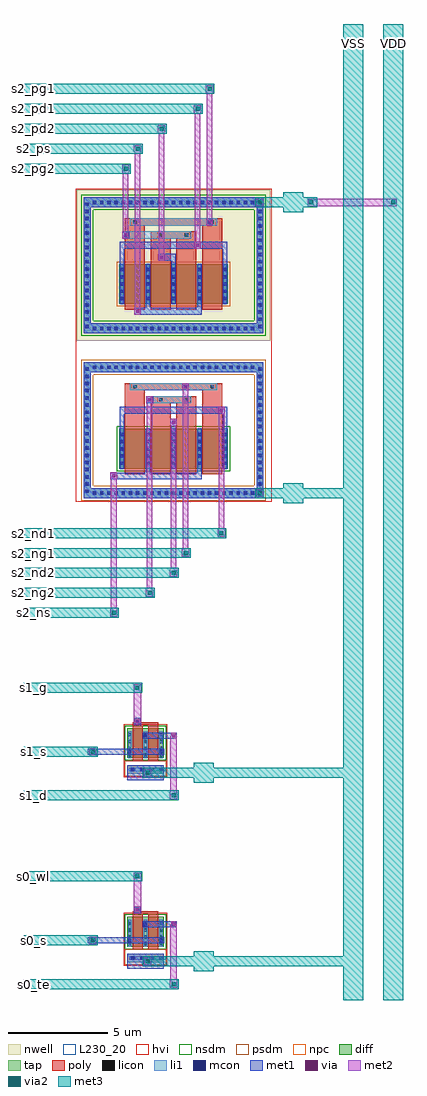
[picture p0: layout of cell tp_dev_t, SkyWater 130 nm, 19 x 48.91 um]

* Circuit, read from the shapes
.subckt tp_dev_t VDD VSS s0_s s0_te s0_wl s1_d s1_g s1_s s2_nd1 s2_nd2 s2_ng1 s2_ng2 s2_ns s2_pd1 s2_pd2 s2_pg1 s2_pg2 s2_ps
XM1 s2_ns s2_ng1 s2_nd1 VSS sky130_fd_pr__nfet_g5v0d10v5 w=2 l=1 m=2
XM2 s0_te s0_wl s0_s VSS sky130_fd_pr__nfet_g5v0d10v5 w=1.5 l=0.5 m=2
XM3 s1_d s1_g s1_s VSS sky130_fd_pr__nfet_g5v0d10v5 w=1.5 l=0.5 m=2
XM4 s2_nd2 s2_ng2 s2_ns VSS sky130_fd_pr__nfet_g5v0d10v5 w=2 l=1 m=2
XM5 s2_ps s2_pg1 s2_pd1 VDD sky130_fd_pr__pfet_g5v0d10v5 w=2 l=1 m=2
XM6 s2_pd2 s2_pg2 s2_ps VDD sky130_fd_pr__pfet_g5v0d10v5 w=2 l=1 m=2
.ends

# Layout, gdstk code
import gdstk
lib = gdstk.Library(unit=1e-6, precision=1e-09)
def R(c, l, rs):  # rectangles x0, y0, x1, y1
    for r in rs: c.add(gdstk.rectangle(r[:2], r[2:], *l))
def A(c, l, x, y, w, h, nx, ny, dx, dy):  # array of equal rectangles
    R(c, l, [(x+i*dx, y+j*dy, x+i*dx+w, y+j*dy+h) for i in range(nx) for j in range(ny)])
nwell = (64, 20)
diff = (65, 20)
tap = (65, 44)
poly = (66, 20)
licon = (66, 44)
li1 = (67, 20)
mcon = (67, 44)
met1 = (68, 20)
via = (68, 44)
met2 = (69, 20)
via2 = (69, 44)
met3 = (70, 20)
hvi = (75, 20)
nsdm = (93, 44)
psdm = (94, 20)
npc = (95, 20)
L230_20 = (230, 20)

tp_1t1r = lib.new_cell('tp_1t1r')
R(tp_1t1r, diff, [(5.18,2.68,7,4.18)])
R(tp_1t1r, tap, [(5.18,1.9,7,2.31)])
R(tp_1t1r, poly, [(5.445,2.55,5.945,4.31), (6.235,2.55,6.735,4.31), (5.445,4.31,6.735,4.46), (5.525,4.355,5.855,4.685)])
A(tp_1t1r, licon, 5.415, 2.02, 0.17, 0.17, 3, 1, 0.475, 0)
A(tp_1t1r, licon, 5.22, 2.74, 0.17, 0.17, 3, 4, 0.785, 0.34)
R(tp_1t1r, licon, [(6.79,2.02,6.96,2.19), (5.605,4.435,5.775,4.605)])
A(tp_1t1r, li1, 5.22, 2.66, 0.17, 1.35, 3, 1, 0.785, 0)
R(tp_1t1r, li1, [(5.27,2.02,7.105,2.19), (5.525,4.355,5.855,4.685)])
A(tp_1t1r, mcon, 5.35, 2.02, 0.17, 0.17, 4, 1, 0.48, 0)
R(tp_1t1r, mcon, [(5.22,2.905,5.39,3.075), (6.79,2.905,6.96,3.075), (6.005,3.705,6.175,3.875), (5.605,4.435,5.775,4.605)])
R(tp_1t1r, met1, [(5.18,1.56,7,2.31), (6.04,1.775,6.36,2.095), (3.29,2.83,3.61,3.15), (3.2,2.845,4.54,3.135), (4.54,2.845,7.02,3.135), (5.945,3.645,7.665,3.935), (7.345,3.66,7.665,3.92), (5.53,4.36,5.85,4.68)])
R(tp_1t1r, via, [(6.125,1.86,6.275,2.01), (3.375,2.915,3.525,3.065), (7.43,3.715,7.58,3.865), (5.615,4.445,5.765,4.595)])
R(tp_1t1r, met2, [(7.32,0.615,7.69,0.985), (7.345,0.615,7.665,1.88), (6.015,1.75,6.385,2.12), (6.04,1.775,6.36,2.095), (7.345,1.88,7.665,3.8), (3.265,2.805,3.635,3.175), (3.29,2.83,3.61,3.15), (7.375,3.63,7.635,3.95), (5.505,4.32,5.875,4.97), (5.505,4.87,5.875,6.385), (5.505,6.015,5.875,6.385)])
R(tp_1t1r, via2, [(7.405,0.7,7.605,0.9), (6.1,1.835,6.3,2.035), (3.35,2.89,3.55,3.09), (5.59,6.1,5.79,6.3)])
R(tp_1t1r, met3, [(0,0.55,1,1.05), (0,0.55,7.755,1.05), (7.255,0.55,7.755,1.05), (8.5,1.435,9.5,2.435), (5.95,1.685,6.45,2.185), (5.95,1.685,9.5,2.185), (0,2.74,3.7,3.24), (0,2.74,1,3.24), (3.2,2.74,3.7,3.24), (0,5.95,1,6.45), (0,5.95,5.94,6.45), (5.44,5.95,5.94,6.45)])
R(tp_1t1r, hvi, [(5,1.72,7.18,4.36)])
R(tp_1t1r, nsdm, [(5.055,2.555,7.125,4.305)])
R(tp_1t1r, psdm, [(5.055,1.775,7.125,2.535)])
R(tp_1t1r, npc, [(5.505,4.335,5.875,4.705)])
R(tp_1t1r, L230_20, [(7.38,3.665,7.63,3.915)])

tp_nacc = lib.new_cell('tp_nacc')
R(tp_nacc, diff, [(5.18,2.68,7,4.18)])
R(tp_nacc, tap, [(5.18,1.9,7,2.31)])
R(tp_nacc, poly, [(5.445,2.55,5.945,4.31), (6.235,2.55,6.735,4.31), (5.445,4.31,6.735,4.46), (5.525,4.355,5.855,4.685)])
A(tp_nacc, licon, 5.415, 2.02, 0.17, 0.17, 3, 1, 0.475, 0)
A(tp_nacc, licon, 5.22, 2.74, 0.17, 0.17, 3, 4, 0.785, 0.34)
R(tp_nacc, licon, [(6.79,2.02,6.96,2.19), (5.605,4.435,5.775,4.605)])
A(tp_nacc, li1, 5.22, 2.66, 0.17, 1.35, 3, 1, 0.785, 0)
R(tp_nacc, li1, [(5.27,2.02,7.105,2.19), (5.525,4.355,5.855,4.685)])
A(tp_nacc, mcon, 5.35, 2.02, 0.17, 0.17, 4, 1, 0.48, 0)
R(tp_nacc, mcon, [(5.22,2.905,5.39,3.075), (6.79,2.905,6.96,3.075), (6.005,3.705,6.175,3.875), (5.605,4.435,5.775,4.605)])
R(tp_nacc, met1, [(5.18,1.56,7,2.31), (6.04,1.775,6.36,2.095), (3.29,2.83,3.61,3.15), (3.2,2.845,4.54,3.135), (4.54,2.845,7.02,3.135), (5.945,3.645,7.665,3.935), (7.345,3.66,7.665,3.92), (5.53,4.36,5.85,4.68)])
R(tp_nacc, via, [(6.125,1.86,6.275,2.01), (3.375,2.915,3.525,3.065), (7.43,3.715,7.58,3.865), (5.615,4.445,5.765,4.595)])
R(tp_nacc, met2, [(7.32,0.615,7.69,0.985), (7.345,0.615,7.665,1.88), (6.015,1.75,6.385,2.12), (6.04,1.775,6.36,2.095), (7.345,1.88,7.665,3.8), (3.265,2.805,3.635,3.175), (3.29,2.83,3.61,3.15), (7.375,3.63,7.635,3.95), (5.505,4.32,5.875,4.97), (5.505,4.87,5.875,6.385), (5.505,6.015,5.875,6.385)])
R(tp_nacc, via2, [(7.405,0.7,7.605,0.9), (6.1,1.835,6.3,2.035), (3.35,2.89,3.55,3.09), (5.59,6.1,5.79,6.3)])
R(tp_nacc, met3, [(0,0.55,1,1.05), (0,0.55,7.755,1.05), (7.255,0.55,7.755,1.05), (8.5,1.435,9.5,2.435), (5.95,1.685,6.45,2.185), (5.95,1.685,9.5,2.185), (0,2.74,3.7,3.24), (0,2.74,1,3.24), (3.2,2.74,3.7,3.24), (0,5.95,1,6.45), (0,5.95,5.94,6.45), (5.44,5.95,5.94,6.45)])
R(tp_nacc, hvi, [(5,1.72,7.18,4.36)])
R(tp_nacc, nsdm, [(5.055,2.555,7.125,4.305)])
R(tp_nacc, psdm, [(5.055,1.775,7.125,2.535)])
R(tp_nacc, npc, [(5.505,4.335,5.875,4.705)])

tp_pair_rc = lib.new_cell('tp_pair_rc')
R(tp_pair_rc, nwell, [(-4.85,8.13,4.85,15.7)])
R(tp_pair_rc, diff, [(-2.725,1.72,2.725,3.72), (-2.725,9.98,2.725,11.98)])
R(tp_pair_rc, tap, [(-4.5,0.25,4.5,0.75), (-4.5,0.25,-4.16,7.06), (4.16,0.25,4.5,7.06), (-4.5,6.56,4.5,7.06), (-4.5,8.51,4.5,9.01), (-4.5,8.51,-4.16,15.32), (4.16,8.51,4.5,15.32), (-4.5,14.82,4.5,15.32)])
A(tp_pair_rc, poly, -2.435, 1.435, 1, 2.57, 4, 2, 1.29, 8.26)
R(tp_pair_rc, poly, [(-2.435,3.72,-1.435,5.83), (-1.145,3.72,-0.145,5.18), (0.145,3.72,1.145,5.18), (1.435,3.72,2.435,5.83), (-1.145,5,1.145,5.36), (-2.435,5.65,2.435,6.01), (-2.435,11.98,-1.435,14.09), (-1.145,11.98,-0.145,13.44), (0.145,11.98,1.145,13.44), (1.435,11.98,2.435,14.09), (-1.145,13.26,1.145,13.62), (-2.435,13.91,2.435,14.27)])
A(tp_pair_rc, licon, -4.045, 0.415, 0.17, 0.17, 23, 2, 0.36, 6.31)
A(tp_pair_rc, licon, -4.415, 0.51, 0.17, 0.17, 1, 18, 0, 0.36)
A(tp_pair_rc, licon, 4.245, 0.51, 0.17, 0.17, 1, 18, 0, 0.36)
A(tp_pair_rc, licon, -2.665, 1.915, 0.17, 0.17, 5, 5, 1.29, 0.36)
A(tp_pair_rc, licon, -4.045, 8.675, 0.17, 0.17, 23, 2, 0.36, 6.31)
A(tp_pair_rc, licon, -4.415, 8.77, 0.17, 0.17, 1, 18, 0, 0.36)
A(tp_pair_rc, licon, 4.245, 8.77, 0.17, 0.17, 1, 18, 0, 0.36)
A(tp_pair_rc, licon, -2.665, 10.175, 0.17, 0.17, 5, 5, 1.29, 0.36)
R(tp_pair_rc, licon, [(-0.73,5.095,-0.56,5.265), (0.56,5.095,0.73,5.265), (-2.02,5.745,-1.85,5.915), (1.85,5.745,2.02,5.915), (-0.73,13.355,-0.56,13.525), (0.56,13.355,0.73,13.525), (-2.02,14.005,-1.85,14.175), (1.85,14.005,2.02,14.175)])
A(tp_pair_rc, li1, -2.665, 1.7, 0.17, 2.04, 5, 2, 1.29, 8.26)
R(tp_pair_rc, li1, [(-4.5,0.25,4.5,0.75), (-4.5,0.25,-4.16,7.06), (4.16,0.25,4.5,7.06), (-1.37,5,0.895,5.36), (-2.185,5.65,2.185,6.01), (-4.5,6.56,4.5,7.06), (-4.5,8.51,4.5,9.01), (-4.5,8.51,-4.16,15.32), (4.16,8.51,4.5,15.32), (-2.57,13.26,0.895,13.62), (-2.185,13.91,2.185,14.27), (-4.5,14.82,4.5,15.32)])
A(tp_pair_rc, mcon, -4.045, 0.415, 0.17, 0.17, 23, 2, 0.36, 6.31)
A(tp_pair_rc, mcon, -4.415, 0.51, 0.17, 0.17, 1, 18, 0, 0.36)
A(tp_pair_rc, mcon, 4.245, 0.51, 0.17, 0.17, 1, 18, 0, 0.36)
A(tp_pair_rc, mcon, -2.665, 1.915, 0.17, 0.17, 5, 5, 1.29, 0.36)
A(tp_pair_rc, mcon, -4.045, 8.675, 0.17, 0.17, 23, 2, 0.36, 6.31)
A(tp_pair_rc, mcon, -4.415, 8.77, 0.17, 0.17, 1, 18, 0, 0.36)
A(tp_pair_rc, mcon, 4.245, 8.77, 0.17, 0.17, 1, 18, 0, 0.36)
A(tp_pair_rc, mcon, -2.665, 10.175, 0.17, 0.17, 5, 5, 1.29, 0.36)
R(tp_pair_rc, mcon, [(-1.285,5.095,-1.115,5.265), (0.515,5.745,0.685,5.915), (-2.485,13.355,-2.315,13.525), (1.715,14.005,1.885,14.175)])
A(tp_pair_rc, met1, -2.695, 1.72, 0.23, 2, 5, 2, 1.29, 8.26)
R(tp_pair_rc, met1, [(-4.5,0.25,4.5,0.75), (-4.5,0.25,-4.16,7.06), (4.16,0.25,4.5,7.06), (-3.165,1.19,1.405,1.53), (-1.405,1.19,-1.175,1.72), (1.175,1.19,1.405,1.72), (-3.165,1.195,-2.835,1.525), (-2.695,3.72,-2.465,4.83), (-0.115,3.72,0.115,4.23), (2.465,3.72,2.695,4.83), (-0.165,3.89,0.165,4.23), (-0.165,3.895,0.165,4.225), (-2.695,4.49,2.695,4.83), (2.235,4.495,2.565,4.825), (-1.37,5.01,-1.03,5.35), (0.43,5.66,0.77,6), (-4.5,6.56,4.5,7.06), (-4.5,8.51,4.5,9.01), (-4.5,8.51,-4.16,15.32), (4.16,8.51,4.5,15.32), (-1.965,9.45,1.405,9.79), (-1.405,9.45,-1.175,9.98), (1.175,9.45,1.405,9.98), (-1.965,9.455,-1.635,9.785), (-2.695,11.98,-2.465,13.09), (-0.115,11.98,0.115,12.49), (2.465,11.98,2.695,13.09), (-0.765,12.15,0.115,12.49), (-0.765,12.155,-0.435,12.485), (-2.695,12.75,2.695,13.09), (1.035,12.755,1.365,13.085), (-2.57,13.27,-2.23,13.61), (1.63,13.92,1.97,14.26), (-4.5,14.82,4.5,15.32)])
R(tp_pair_rc, via, [(-3.075,1.285,-2.925,1.435), (-0.075,3.985,0.075,4.135), (2.325,4.585,2.475,4.735), (-1.275,5.105,-1.125,5.255), (0.525,5.755,0.675,5.905), (-1.875,9.545,-1.725,9.695), (-0.675,12.245,-0.525,12.395), (1.125,12.845,1.275,12.995), (-2.475,13.365,-2.325,13.515), (1.725,14.015,1.875,14.165)])
R(tp_pair_rc, met2, [(-3.14,0,-2.86,1.54), (-1.34,0,-1.06,5.36), (-0.14,0,0.14,4.24), (0.46,0,0.74,6.01), (2.26,0,2.54,4.84), (-3.165,1.195,-2.835,1.525), (-0.165,3.895,0.165,4.225), (2.235,4.495,2.565,4.825), (-1.365,5.015,-1.035,5.345), (0.435,5.665,0.765,5.995), (-1.94,9.44,-1.66,15.76), (-1.965,9.455,-1.635,9.785), (-0.74,12.14,-0.46,15.76), (-0.765,12.155,-0.435,12.485), (1.06,12.74,1.34,15.76), (1.035,12.755,1.365,13.085), (-2.54,13.26,-2.26,15.76), (-2.565,13.275,-2.235,13.605), (1.66,13.91,1.94,15.76), (1.635,13.925,1.965,14.255)])
R(tp_pair_rc, hvi, [(-4.91,0.065,4.91,15.76)])
R(tp_pair_rc, nsdm, [(-2.85,1.595,2.85,3.845), (-4.625,8.385,4.625,9.135), (-4.625,8.385,-4.035,15.445), (4.035,8.385,4.625,15.445), (-4.625,14.695,4.625,15.445)])
R(tp_pair_rc, psdm, [(-4.625,0.125,4.625,0.875), (-4.625,0.125,-4.035,7.185), (4.035,0.125,4.625,7.185), (-4.625,6.435,4.625,7.185), (-2.85,9.855,2.85,12.105)])
R(tp_pair_rc, npc, [(-0.83,4.995,0.83,5.365), (-2.12,5.645,2.12,6.015), (-0.83,13.255,0.83,13.625), (-2.12,13.905,2.12,14.275)])

tp_pair = lib.new_cell('tp_pair')
R(tp_pair, met1, [(11.67,6.34,11.99,6.66), (11.67,20.91,11.99,21.23)])
R(tp_pair, via, [(11.755,6.425,11.905,6.575), (11.755,20.995,11.905,21.145)])
R(tp_pair, met2, [(4.315,0.315,4.685,0.685), (4.36,0.315,4.64,6.3), (6.115,1.315,6.485,1.685), (6.16,1.315,6.44,6.3), (7.315,2.315,7.685,2.685), (7.36,2.315,7.64,6.3), (7.915,3.315,8.285,3.685), (7.96,3.315,8.24,6.3), (9.715,4.315,10.085,4.685), (9.76,4.315,10.04,6.3), (11.645,6.315,12.015,6.685), (11.67,6.34,11.99,6.66), (11.645,20.885,12.015,21.255), (11.67,20.91,11.99,21.23), (4.96,21.46,5.24,22.945), (5.56,21.46,5.84,23.945), (6.76,21.46,7.04,24.945), (8.56,21.46,8.84,25.945), (9.16,21.46,9.44,26.945), (4.915,22.575,5.285,22.945), (5.515,23.575,5.885,23.945), (6.715,24.575,7.085,24.945), (8.515,25.575,8.885,25.945), (9.115,26.575,9.485,26.945)])
R(tp_pair, via2, [(4.4,0.4,4.6,0.6), (6.2,1.4,6.4,1.6), (7.4,2.4,7.6,2.6), (8,3.4,8.2,3.6), (9.8,4.4,10,4.6), (11.73,6.4,11.93,6.6), (11.73,20.97,11.93,21.17), (5,22.66,5.2,22.86), (5.6,23.66,5.8,23.86), (6.8,24.66,7,24.86), (8.6,25.66,8.8,25.86), (9.2,26.66,9.4,26.86)])
A(tp_pair, met3, 0, 0.25, 1, 0.5, 1, 5, 0, 1)
A(tp_pair, met3, 0, 22.51, 1, 0.5, 1, 5, 0, 1)
R(tp_pair, met3, [(0,0.25,4.75,0.75), (4.25,0.25,4.75,0.75), (0,1.25,6.55,1.75), (6.05,1.25,6.55,1.75), (0,2.25,7.75,2.75), (7.25,2.25,7.75,2.75), (0,3.25,8.35,3.75), (7.85,3.25,8.35,3.75), (0,4.25,10.15,4.75), (9.65,4.25,10.15,4.75), (13,6,14,7), (11.58,6.25,12.08,6.75), (11.58,6.25,14,6.75), (13,20.57,14,21.57), (11.58,20.82,12.08,21.32), (11.58,20.82,14,21.32), (0,22.51,5.35,23.01), (4.85,22.51,5.35,23.01), (0,23.51,5.95,24.01), (5.45,23.51,5.95,24.01), (0,24.51,7.15,25.01), (6.65,24.51,7.15,25.01), (0,25.51,8.95,26.01), (8.45,25.51,8.95,26.01), (0,26.51,9.55,27.01), (9.05,26.51,9.55,27.01)])
tp_pair.add(gdstk.Reference(tp_pair_rc, (7.5,6)))

tp_dev_t = lib.new_cell('tp_dev_t')
R(tp_dev_t, met2, [(14.215,39.785,18.685,40.155)])
R(tp_dev_t, via2, [(14.3,39.87,14.5,40.07), (18.4,39.87,18.6,40.07)])
R(tp_dev_t, met3, [(16,0,17,48.91), (18,0,19,48.91), (9.5,1.685,17,2.185), (9.5,11.135,17,11.635), (14,25.15,17,25.65), (13.4,39.72,14.7,40.22)])
tp_dev_t.add(gdstk.Reference(tp_1t1r, (0,0)))
tp_dev_t.add(gdstk.Reference(tp_nacc, (0,9.45)))
tp_dev_t.add(gdstk.Reference(tp_pair, (0,18.9)))
tp_dev_t.add(gdstk.Label('s0_s', (0.5,2.99), layer=70, texttype=5))
tp_dev_t.add(gdstk.Label('s0_te', (0.5,0.8), layer=70, texttype=5))
tp_dev_t.add(gdstk.Label('s0_wl', (0.5,6.2), layer=70, texttype=5))
tp_dev_t.add(gdstk.Label('s1_s', (0.5,12.44), layer=70, texttype=5))
tp_dev_t.add(gdstk.Label('s1_d', (0.5,10.25), layer=70, texttype=5))
tp_dev_t.add(gdstk.Label('s1_g', (0.5,15.65), layer=70, texttype=5))
tp_dev_t.add(gdstk.Label('s2_ns', (0.5,19.4), layer=70, texttype=5))
tp_dev_t.add(gdstk.Label('s2_ng2', (0.5,20.4), layer=70, texttype=5))
tp_dev_t.add(gdstk.Label('s2_nd2', (0.5,21.4), layer=70, texttype=5))
tp_dev_t.add(gdstk.Label('s2_ng1', (0.5,22.4), layer=70, texttype=5))
tp_dev_t.add(gdstk.Label('s2_nd1', (0.5,23.4), layer=70, texttype=5))
tp_dev_t.add(gdstk.Label('s2_pg2', (0.5,41.66), layer=70, texttype=5))
tp_dev_t.add(gdstk.Label('s2_ps', (0.5,42.66), layer=70, texttype=5))
tp_dev_t.add(gdstk.Label('s2_pd2', (0.5,43.66), layer=70, texttype=5))
tp_dev_t.add(gdstk.Label('s2_pd1', (0.5,44.66), layer=70, texttype=5))
tp_dev_t.add(gdstk.Label('s2_pg1', (0.5,45.66), layer=70, texttype=5))
tp_dev_t.add(gdstk.Label('VDD', (18.5,47.91), layer=70, texttype=5))
tp_dev_t.add(gdstk.Label('VSS', (16.5,47.91), layer=70, texttype=5))

lib.write_gds('tp_dev_t.gds')
